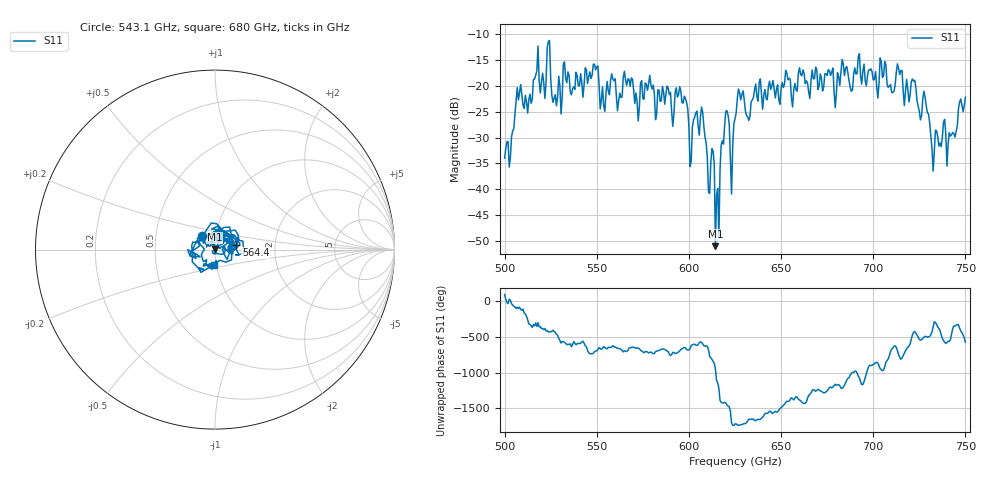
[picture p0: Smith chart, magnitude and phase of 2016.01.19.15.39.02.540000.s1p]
!Created with skrf (http://scikit-rf.org).
# GHz S RI R 50.0
!freq ReS11 ImS11
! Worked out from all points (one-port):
!   401 points, 500 GHz to 750 GHz, reference 50 ohm
!   lowest |S11| = -51.0 dB at 614.4 GHz (marker M1), VSWR 1.01, Z = 49.8 + j0.206 ohm
!   |S11| at or under -10 dB: start of sweep to end of sweep
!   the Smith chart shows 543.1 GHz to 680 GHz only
!   S11 on the Smith chart (normalised r, x): 543.1 GHz: 0.86, +0.13; 564.4 GHz: 1.27, +0.07; 680 GHz: 0.97, -0.16
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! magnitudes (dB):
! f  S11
! 500 GHz  -34.0
! 503.8 GHz  -29.9
! 507.5 GHz  -22.7
! 513.8 GHz  -21.6
! 516.9 GHz  -17.9
! 531.2 GHz  -22.2
! 543.1 GHz  -19.8
! 562.5 GHz  -21.4
! 564.4 GHz  -18.3
! 593.8 GHz  -22.1
! 601.2 GHz  -34.6
! 607.5 GHz  -25.2
! 614.4 GHz  -51.0
! 615.6 GHz  -39.9
! 620 GHz  -24.9
! 623.1 GHz  -40.9
! 625 GHz  -26.4
! 628.1 GHz  -22.7
! 631.9 GHz  -26.0
! 637.5 GHz  -23.0
! 656.2 GHz  -24.1
! 680 GHz  -21.5
! 687.5 GHz  -20.3
! 705 GHz  -18.3
! 718.8 GHz  -20.6
! 728.1 GHz  -22.2
! 732.5 GHz  -36.5
! 750 GHz  -22.2
